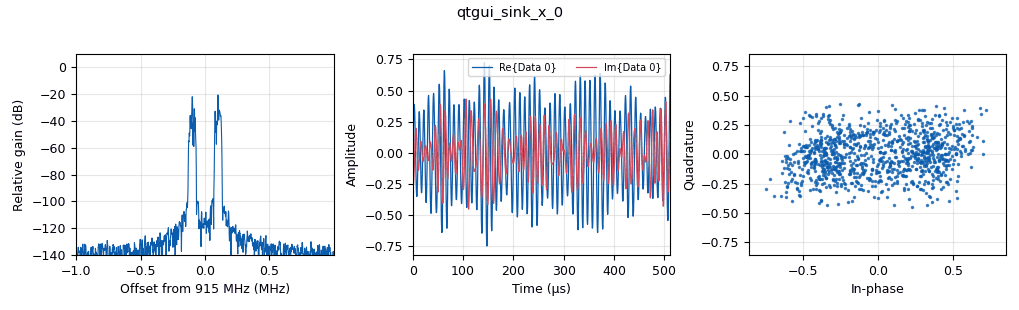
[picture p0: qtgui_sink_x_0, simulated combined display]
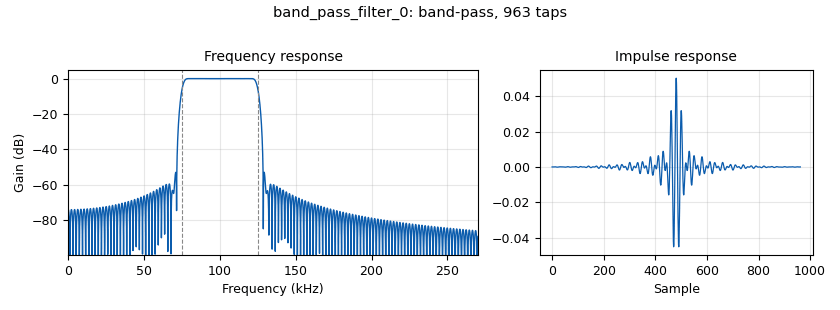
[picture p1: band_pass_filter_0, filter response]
options:
  parameters:
    author: MR and CO
    generate_options: qt_gui
    id: XMLRPC_FG
    output_language: python
    title: 'GR Tutorial: XMLRPC'
  states: {}

blocks:
- name: fc_rx
  id: variable_qtgui_range
  parameters:
    label: Center Frequency - Rx
    orient: Qt.Horizontal
    start: '910000000'
    step: '500000'
    stop: '920000000'
    value: '915000000'
  states: {}
- name: fc_tx
  id: variable_qtgui_range
  parameters:
    label: Center Frequency - Tx
    orient: Qt.Horizontal
    start: '910000000'
    step: '500000'
    stop: '920000000'
    value: '915000000'
  states: {}
- name: filter_select
  id: variable_qtgui_chooser
  parameters:
    gui_hint: 0,3,1,1
    label: Filter Selection
    label0: Enable
    label1: Bypass
    num_opts: '2'
    option0: '0'
    option1: '1'
    type: int
    value: '0'
  states: {}
- name: path_select
  id: variable_qtgui_chooser
  parameters:
    gui_hint: 0,2,1,1
    label: Source Signal
    label0: Real Sine
    label1: Complex Sine
    num_opts: '2'
    option0: '0'
    option1: '1'
    type: int
    value: '0'
  states: {}
- name: samp_rate
  id: variable
  parameters:
    value: 2e6
  states: {}
- name: sig_freq
  id: variable_qtgui_range
  parameters:
    gui_hint: 0,0,1,2
    label: Signal Frequency
    orient: Qt.Horizontal
    start: 5e4
    step: 5e4
    stop: 5e5
    value: 1e5
  states: {}
- name: analog_const_source_x_0
  id: analog_const_source_x
  parameters:
    const: '0'
    type: float
  states: {}
- name: analog_noise_source_x_0
  id: analog_noise_source_x
  parameters:
    amp: '1'
    noise_type: analog.GR_GAUSSIAN
    seed: '0'
    type: complex
  states: {}
- name: analog_sig_source_x_0
  id: analog_sig_source_x
  parameters:
    amp: '0.5'
    freq: sig_freq
    offset: '0'
    phase: '0'
    samp_rate: samp_rate
    type: complex
    waveform: analog.GR_COS_WAVE
  states: {}
- name: analog_sig_source_x_1_0
  id: analog_sig_source_x
  parameters:
    amp: '0.5'
    freq: sig_freq
    offset: '0'
    phase: '0'
    samp_rate: samp_rate
    type: float
    waveform: analog.GR_COS_WAVE
  states: {}
- name: band_pass_filter_0
  id: band_pass_filter
  parameters:
    decim: '1'
    gain: '1'
    high_cutoff_freq: sig_freq + 25000
    low_cutoff_freq: sig_freq - 25000
    samp_rate: samp_rate
    type: fir_filter_ccf
    width: 5e3
    win: firdes.WIN_HAMMING
  states: {}
- name: blocks_add_xx_0
  id: blocks_add_xx
  parameters:
    type: complex
  states: {}
- name: blocks_float_to_complex_0
  id: blocks_float_to_complex
  parameters: {}
  states: {}
- name: blocks_selector_0
  id: blocks_selector
  parameters:
    enabled: 'True'
    input_index: path_select
    num_inputs: '2'
    num_outputs: '1'
    output_index: '0'
    type: complex
  states: {}
- name: blocks_selector_0_0
  id: blocks_selector
  parameters:
    enabled: 'True'
    input_index: filter_select
    num_inputs: '2'
    num_outputs: '1'
    output_index: '0'
    type: complex
  states: {}
- name: blocks_throttle_0
  id: blocks_throttle
  parameters:
    samples_per_second: samp_rate
    type: complex
  states: {}
- name: note_1_0
  id: note
  parameters:
    note: Transmitter
  states: {state: disabled}
- name: note_1_0_0
  id: note
  parameters:
    note: Receiver
  states: {state: disabled}
- name: qtgui_sink_x_0
  id: qtgui_sink_x
  parameters:
    bw: samp_rate
    fc: fc_rx
    fftsize: '1024'
    gui_hint: 1,0,1,4
    showrf: 'True'
    type: complex
    wintype: firdes.WIN_BLACKMAN_hARRIS
  states: {}
- name: rx_addr
  id: parameter
  parameters:
    label: RX Address
    short_id: r
    type: str
    value: '3279500'
  states: {}
- name: tx_addr
  id: parameter
  parameters:
    label: TX Address
    short_id: t
    type: str
    value: '3279417'
  states: {}
- name: uhd_usrp_sink_0
  id: uhd_usrp_sink
  parameters:
    ant0: TX/RX
    center_freq0: fc_tx
    dev_addr: '"serial=" + tx_addr'
    dev_args: '""'
    gain0: '40'
    len_tag_name: ''
    norm_gain0: 'False'
    samp_rate: samp_rate
    sync: none
    type: fc32
  states: {state: disabled}
- name: uhd_usrp_source_0
  id: uhd_usrp_source
  parameters:
    ant0: RX2
    center_freq0: fc_rx
    dc_offs_enb0: '""'
    dev_addr: '"serial=" + rx_addr'
    dev_args: '""'
    gain0: '30'
    iq_imbal_enb0: '""'
    norm_gain0: 'False'
    samp_rate: samp_rate
    sync: none
    type: fc32
  states: {state: disabled}
- name: virtual_sink_0
  id: virtual_sink
  parameters:
    stream_id: Real_Sine
  states: {}
- name: virtual_sink_0_0
  id: virtual_sink
  parameters:
    stream_id: Complex_Sine
  states: {}
- name: virtual_sink_0_1_0
  id: virtual_sink
  parameters:
    stream_id: RxSignal
  states: {}
- name: virtual_sink_0_1_0_0
  id: virtual_sink
  parameters:
    stream_id: TxSignal
  states: {}
- name: virtual_sink_0_1_0_1
  id: virtual_sink
  parameters:
    stream_id: RxSignal
  states: {state: disabled}
- name: virtual_source_0
  id: virtual_source
  parameters:
    stream_id: Real_Sine
  states: {}
- name: virtual_source_0_0
  id: virtual_source
  parameters:
    stream_id: Complex_Sine
  states: {}
- name: virtual_source_0_1
  id: virtual_source
  parameters:
    stream_id: TxSignal
  states: {}
- name: virtual_source_0_1_0
  id: virtual_source
  parameters:
    stream_id: RxSignal
  states: {}
- name: virtual_source_0_1_1
  id: virtual_source
  parameters:
    stream_id: TxSignal
  states: {state: disabled}
- name: xmlrpc_server_1
  id: xmlrpc_server
  parameters:
    addr: localhost
    port: '8080'
  states: {}

connections:
- [analog_const_source_x_0, '0', blocks_float_to_complex_0, '1']
- [analog_noise_source_x_0, '0', blocks_add_xx_0, '1']
- [analog_sig_source_x_0, '0', virtual_sink_0_0, '0']
- [analog_sig_source_x_1_0, '0', blocks_float_to_complex_0, '0']
- [band_pass_filter_0, '0', blocks_selector_0_0, '0']
- [blocks_add_xx_0, '0', blocks_throttle_0, '0']
- [blocks_float_to_complex_0, '0', virtual_sink_0, '0']
- [blocks_selector_0, '0', virtual_sink_0_1_0_0, '0']
- [blocks_selector_0_0, '0', qtgui_sink_x_0, '0']
- [blocks_throttle_0, '0', virtual_sink_0_1_0, '0']
- [uhd_usrp_source_0, '0', virtual_sink_0_1_0_1, '0']
- [virtual_source_0, '0', blocks_selector_0, '0']
- [virtual_source_0_0, '0', blocks_selector_0, '1']
- [virtual_source_0_1, '0', blocks_add_xx_0, '0']
- [virtual_source_0_1_0, '0', band_pass_filter_0, '0']
- [virtual_source_0_1_0, '0', blocks_selector_0_0, '1']
- [virtual_source_0_1_1, '0', uhd_usrp_sink_0, '0']

metadata:
  file_format: 1
